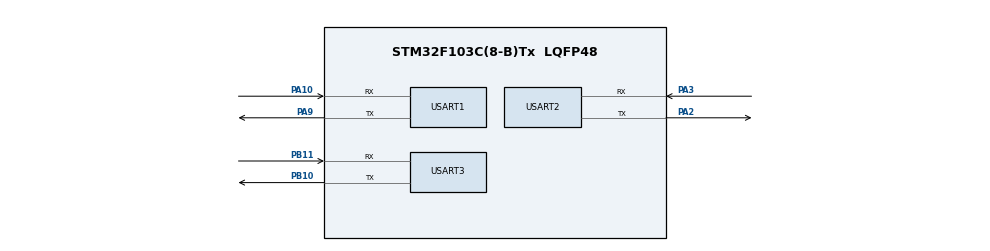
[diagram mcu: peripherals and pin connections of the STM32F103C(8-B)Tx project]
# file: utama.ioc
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Mcu.Family=STM32F1
Mcu.Name=STM32F103C(8-B)Tx
Mcu.Package=LQFP48
NVIC.PriorityGroup=NVIC_PRIORITYGROUP_4
NVIC.USART1_IRQn=true\:0\:0\:false\:false\:true\:true\:true\:true
NVIC.USART2_IRQn=true\:0\:0\:false\:false\:true\:true\:true\:true
NVIC.USART3_IRQn=true\:0\:0\:false\:false\:true\:true\:true\:true
PA10.Mode=Asynchronous
PA10.Signal=USART1_RX
PA2.Mode=Asynchronous
PA2.Signal=USART2_TX
PA3.Mode=Asynchronous
PA3.Signal=USART2_RX
PA9.Mode=Asynchronous
PA9.Signal=USART1_TX
PB10.Mode=Asynchronous
PB10.Signal=USART3_TX
PB11.Mode=Asynchronous
PB11.Signal=USART3_RX
ProjectManager.HeapSize=0x200
ProjectManager.StackSize=0x400
ProjectManager.TargetToolchain=STM32CubeIDE
RCC.APB1Freq_Value=8000000
RCC.APB2Freq_Value=8000000
USART1.VirtualMode=VM_ASYNC
USART2.VirtualMode=VM_ASYNC
USART3.VirtualMode=VM_ASYNC
VP_SYS_VS_ND.Mode=No_Debug
board=custom

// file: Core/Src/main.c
/* USER CODE BEGIN Header */
/**
  ******************************************************************************
  * @file           : main.c
  * @brief          : Main program body
  ******************************************************************************
  * @attention
  *
  * Copyright (c) 2025 STMicroelectronics.
  * All rights reserved.
  *
  * This software is licensed under terms that can be found in the LICENSE file
  * in the root directory of this software component.
  * If no LICENSE file comes with this software, it is provided AS-IS.
  *
  ******************************************************************************
  */
/* USER CODE END Header */
#include "main.h"

/* USER CODE BEGIN Includes */
#include "string.h"
#include "stdio.h"
#include "stdlib.h"

/* USER CODE END Includes */

UART_HandleTypeDef huart1;
UART_HandleTypeDef huart2;
UART_HandleTypeDef huart3;

/* USER CODE BEGIN PV */
float Vx, Vy, W;
float motor1, motor2, servo;

// Buffer terpisah untuk USART1 (gripper response)
uint8_t rxData1;
char uartBuf1[64];
uint8_t uartIndex1 = 0;

// Buffer terpisah untuk USART3 (server command)
uint8_t rxData3;
char uartBuf3[64];
uint8_t uartIndex3 = 0;

/* USER CODE END PV */

void SystemClock_Config(void);
static void MX_GPIO_Init(void);
static void MX_USART1_UART_Init(void);
static void MX_USART2_UART_Init(void);
static void MX_USART3_UART_Init(void);

int main(void)
{

  /* MCU Configuration--------------------------------------------------------*/

  /* Reset of all peripherals, Initializes the Flash interface and the Systick. */
  HAL_Init();

  /* Configure the system clock */
  SystemClock_Config();

  /* Initialize all configured peripherals */
  MX_GPIO_Init();
  MX_USART1_UART_Init();
  MX_USART2_UART_Init();
  MX_USART3_UART_Init();
  /* USER CODE BEGIN 2 */
  HAL_UART_Receive_IT(&huart1, &rxData1, 1);  // Enable receive from gripper
  HAL_UART_Receive_IT(&huart3, &rxData3, 1);  // Enable receive from server

  /* USER CODE END 2 */

  /* Infinite loop */
  while (1)
  {

  }
}

void SystemClock_Config(void)
{
  RCC_OscInitTypeDef RCC_OscInitStruct = {0};
  RCC_ClkInitTypeDef RCC_ClkInitStruct = {0};

  /** Initializes the RCC Oscillators according to the specified parameters
  * in the RCC_OscInitTypeDef structure.
  */
  RCC_OscInitStruct.OscillatorType = RCC_OSCILLATORTYPE_HSI;
  RCC_OscInitStruct.HSIState = RCC_HSI_ON;
  RCC_OscInitStruct.HSICalibrationValue = RCC_HSICALIBRATION_DEFAULT;
  RCC_OscInitStruct.PLL.PLLState = RCC_PLL_NONE;
  if (HAL_RCC_OscConfig(&RCC_OscInitStruct) != HAL_OK)
  {
    Error_Handler();
  }

  /** Initializes the CPU, AHB and APB buses clocks
  */
  RCC_ClkInitStruct.ClockType = RCC_CLOCKTYPE_HCLK|RCC_CLOCKTYPE_SYSCLK
                              |RCC_CLOCKTYPE_PCLK1|RCC_CLOCKTYPE_PCLK2;
  RCC_ClkInitStruct.SYSCLKSource = RCC_SYSCLKSOURCE_HSI;
  RCC_ClkInitStruct.AHBCLKDivider = RCC_SYSCLK_DIV1;
  RCC_ClkInitStruct.APB1CLKDivider = RCC_HCLK_DIV1;
  RCC_ClkInitStruct.APB2CLKDivider = RCC_HCLK_DIV1;

  if (HAL_RCC_ClockConfig(&RCC_ClkInitStruct, FLASH_LATENCY_0) != HAL_OK)
  {
    Error_Handler();
  }
}

static void MX_USART1_UART_Init(void)
{

  huart1.Instance = USART1;
  huart1.Init.BaudRate = 115200;
  huart1.Init.WordLength = UART_WORDLENGTH_8B;
  huart1.Init.StopBits = UART_STOPBITS_1;
  huart1.Init.Parity = UART_PARITY_NONE;
  huart1.Init.Mode = UART_MODE_TX_RX;
  huart1.Init.HwFlowCtl = UART_HWCONTROL_NONE;
  huart1.Init.OverSampling = UART_OVERSAMPLING_16;
  if (HAL_UART_Init(&huart1) != HAL_OK)
  {
    Error_Handler();
  }

}

static void MX_USART2_UART_Init(void)
{

  huart2.Instance = USART2;
  huart2.Init.BaudRate = 115200;
  huart2.Init.WordLength = UART_WORDLENGTH_8B;
  huart2.Init.StopBits = UART_STOPBITS_1;
  huart2.Init.Parity = UART_PARITY_NONE;
  huart2.Init.Mode = UART_MODE_TX_RX;
  huart2.Init.HwFlowCtl = UART_HWCONTROL_NONE;
  huart2.Init.OverSampling = UART_OVERSAMPLING_16;
  if (HAL_UART_Init(&huart2) != HAL_OK)
  {
    Error_Handler();
  }

}

static void MX_USART3_UART_Init(void)
{

  huart3.Instance = USART3;
  huart3.Init.BaudRate = 115200;
  huart3.Init.WordLength = UART_WORDLENGTH_8B;
  huart3.Init.StopBits = UART_STOPBITS_1;
  huart3.Init.Parity = UART_PARITY_NONE;
  huart3.Init.Mode = UART_MODE_TX_RX;
  huart3.Init.HwFlowCtl = UART_HWCONTROL_NONE;
  huart3.Init.OverSampling = UART_OVERSAMPLING_16;
  if (HAL_UART_Init(&huart3) != HAL_OK)
  {
    Error_Handler();
  }

}

static void MX_GPIO_Init(void)
{

  /* GPIO Ports Clock Enable */
  __HAL_RCC_GPIOA_CLK_ENABLE();
  __HAL_RCC_GPIOB_CLK_ENABLE();

}

/* USER CODE BEGIN 4 */
void HAL_UART_RxCpltCallback(UART_HandleTypeDef *huart)
{
	// USART3: Terima data dari server
    if (huart->Instance == USART3)
    {
        // Handle buffer overflow
        if (uartIndex3 >= sizeof(uartBuf3) - 1)
        {
            memset(uartBuf3, 0, sizeof(uartBuf3));
            uartIndex3 = 0;
            HAL_UART_Transmit(&huart3, (uint8_t*)"ERR:OVERFLOW\r\n", 14, 100);
            // Re-enable interrupt and continue
            HAL_UART_Receive_IT(&huart3, &rxData3, 1);
            return;
        }

        // Collect data until newline or carriage return
        if (rxData3 != '\n' && rxData3 != '\r')
        {
            uartBuf3[uartIndex3++] = rxData3;
        }
        else if (uartIndex3 > 0)  // Got terminator with data in buffer
        {
            // Terminate string
            uartBuf3[uartIndex3] = '\0';

            // Parse data: expected format "Vx,Vy,W,motor1,motor2,servo"
            float tempVx, tempVy, tempW, tempM1, tempM2, tempServo;
            int parsed = sscanf(uartBuf3, "%f","%f","%f","%f","%f","%f",
                               &tempVx,&tempVy,&tempW,&tempM1,&tempM2,&tempServo);
            Vx = tempVx;

            if (parsed == 6)
            {
                // Valid data - update all values
                Vx = tempVx;
                Vy = tempVy;
                W = tempW;
                motor1 = tempM1;
                motor2 = tempM2;
                servo = tempServo;

                // Send Vx,Vy,W to USART2 (base roda omniwheel)
                char baseCmd[40];
                int baseLen = snprintf(baseCmd, sizeof(baseCmd),
                                      "%.2f,%.2f,%.2f\r\n", Vx, Vy, W);
                if (baseLen > 0 && baseLen < sizeof(baseCmd))
                {
                    HAL_UART_Transmit(&huart2, (uint8_t*)baseCmd, baseLen, 100);
                }

                // Send motor1,motor2,servo to USART1 (gripper)
                char gripperCmd[40];
                int gripperLen = snprintf(gripperCmd, sizeof(gripperCmd),
                                         "%.2f,%.2f,%.2f\r\n", motor1, motor2, servo);
                if (gripperLen > 0 && gripperLen < sizeof(gripperCmd))
                {
                    HAL_UART_Transmit(&huart1, (uint8_t*)gripperCmd, gripperLen, 100);
                }

                // Send confirmation response to server (USART3)
//                char response[100];
//                int len = snprintf(response, sizeof(response),
//                                  "OK:Vx=%.2f,Vy=%.2f,W=%.2f,M1=%.2f,M2=%.2f,S=%.2f\r\n",
//                                  Vx, Vy, W, motor1, motor2, servo);
//                if (len > 0 && len < sizeof(response))
//                {
//                    HAL_UART_Transmit(&huart3, (uint8_t*)response, len, 100);
//                }
            }
            else
            {
                // Parse failed - wrong number of parameters
                char errMsg[50];
                int len = snprintf(errMsg, sizeof(errMsg),
                                  "ERR:INVALID_FORMAT(got %d params)\r\n", parsed);
                if (len > 0 && len < sizeof(errMsg))
                {
                    HAL_UART_Transmit(&huart3, (uint8_t*)errMsg, len, 100);
                }
            }

            // Clear buffer for next message
            memset(uartBuf3, 0, sizeof(uartBuf3));
            uartIndex3 = 0;
        }
        // else: empty line (just \r or \n), ignore it

        // Re-enable UART receive interrupt for next byte
        HAL_UART_Receive_IT(&huart3, &rxData3, 1);
    }
    if (huart->Instance == USART1)
        {
            // Handle buffer overflow
            if (uartIndex1 >= sizeof(uartBuf1) - 1)
            {
                memset(uartBuf1, 0, sizeof(uartBuf1));
                uartIndex1 = 0;
                HAL_UART_Transmit(&huart1, (uint8_t*)"ERR:OVERFLOW\r\n", 14, 100);
                // Re-enable interrupt and continue
                HAL_UART_Receive_IT(&huart1, &rxData1, 1);
                return;
            }

            // Collect data until newline or carriage return
            if (rxData1 != '\n' && rxData1 != '\r')
            {
                uartBuf1[uartIndex1++] = rxData1;
            }
            else if (uartIndex1 > 0)  // Got terminator with data in buffer
            {
                // Terminate string
                uartBuf1[uartIndex1] = '\0';

                // Parse data: expected format "Vx,Vy,W,motor1,motor2,servo"
                float tempVx, tempVy, tempW;
                int parsed = sscanf(uartBuf1, "%f","%f","%f",&tempVx,&tempVy,&tempW);

                if (parsed == 3)
                {
                    // Valid data - update all values
                    Vx = tempVx;
                    Vy = tempVy;
                    W = tempW;

                    // Send Vx,Vy,W to USART2 (base roda omniwheel)
                    char baseCmd[40];
                    int baseLen = snprintf(baseCmd, sizeof(baseCmd),"%.2f,%.2f,%.2f\r\n", Vx, Vy, W);
                    if (baseLen > 0 && baseLen < sizeof(baseCmd))
                    {
                        HAL_UART_Transmit(&huart2, (uint8_t*)baseCmd, baseLen, 100);
                    }

                    // Send motor1,motor2,servo to USART1 (gripper)

                    // Send confirmation response to server (USART3)
    //                char response[100];
    //                int len = snprintf(response, sizeof(response),
    //                                  "OK:Vx=%.2f,Vy=%.2f,W=%.2f,M1=%.2f,M2=%.2f,S=%.2f\r\n",
    //                                  Vx, Vy, W, motor1, motor2, servo);
    //                if (len > 0 && len < sizeof(response))
    //                {
    //                    HAL_UART_Transmit(&huart3, (uint8_t*)response, len, 100);
    //                }
                }
                else
                {
                    // Parse failed - wrong number of parameters
                    char errMsg[50];
                    int len = snprintf(errMsg, sizeof(errMsg),
                                      "ERR:INVALID_FORMAT(got %d params)\r\n", parsed);
                    if (len > 0 && len < sizeof(errMsg))
                    {
                        HAL_UART_Transmit(&huart1, (uint8_t*)errMsg, len, 100);
                    }
                }

                // Clear buffer for next message
                memset(uartBuf1, 0, sizeof(uartBuf1));
                uartIndex1 = 0;
            }
            // else: empty line (just \r or \n), ignore it

            // Re-enable UART receive interrupt for next byte
            HAL_UART_Receive_IT(&huart1, &rxData1, 1);
        }
    // USART1: Terima response dari gripper
}

/* USER CODE END 4 */

void Error_Handler(void)
{
  __disable_irq();
  while (1)
  {
  }
}
